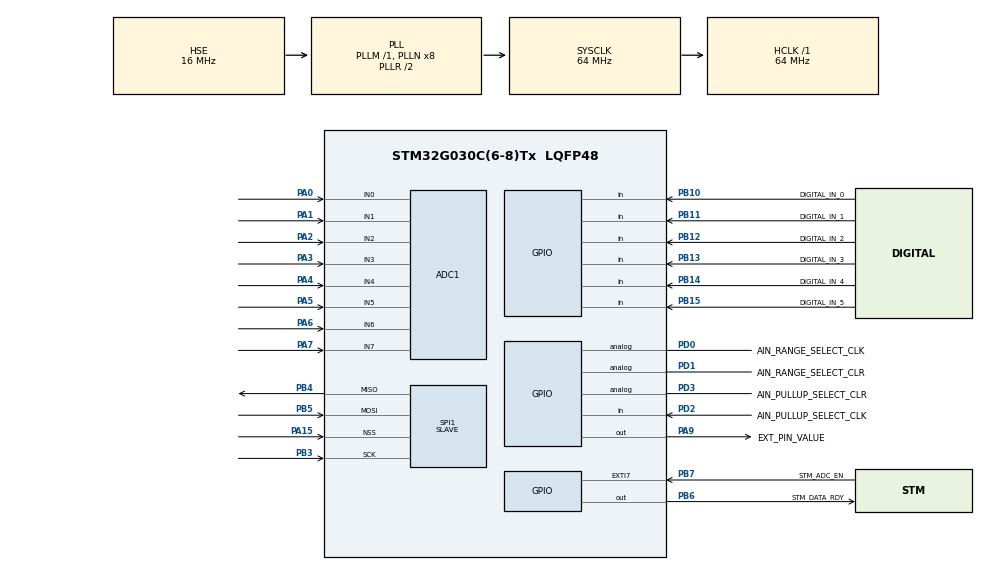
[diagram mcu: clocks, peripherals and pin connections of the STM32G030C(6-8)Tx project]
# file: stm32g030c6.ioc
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ADC1.Channel-16\#ChannelRegularConversion=ADC_CHANNEL_0
ADC1.Channel-17\#ChannelRegularConversion=ADC_CHANNEL_1
ADC1.Channel-18\#ChannelRegularConversion=ADC_CHANNEL_2
ADC1.Channel-19\#ChannelRegularConversion=ADC_CHANNEL_3
ADC1.Channel-20\#ChannelRegularConversion=ADC_CHANNEL_4
ADC1.Channel-21\#ChannelRegularConversion=ADC_CHANNEL_5
ADC1.Channel-22\#ChannelRegularConversion=ADC_CHANNEL_6
ADC1.Channel-23\#ChannelRegularConversion=ADC_CHANNEL_7
ADC1.ClockPrescaler=ADC_CLOCK_ASYNC_DIV1
ADC1.ContinuousConvMode=DISABLE
ADC1.DMAContinuousRequests=ENABLE
ADC1.DiscontinuousConvMode=DISABLE
ADC1.EOCSelection=ADC_EOC_SEQ_CONV
ADC1.EnableAnalogWatchDog1=false
ADC1.ExternalTrigConv=ADC_EXTERNALTRIG_T3_TRGO
ADC1.ExternalTrigConvEdge=ADC_EXTERNALTRIGCONVEDGE_RISING
ADC1.NbrOfConversion=8
ADC1.NbrOfConversionFlag=1
ADC1.Overrun=ADC_OVR_DATA_PRESERVED
ADC1.Rank-16\#ChannelRegularConversion=1
ADC1.Rank-17\#ChannelRegularConversion=2
ADC1.Rank-18\#ChannelRegularConversion=3
ADC1.Rank-19\#ChannelRegularConversion=4
ADC1.Rank-20\#ChannelRegularConversion=5
ADC1.Rank-21\#ChannelRegularConversion=6
ADC1.Rank-22\#ChannelRegularConversion=7
ADC1.Rank-23\#ChannelRegularConversion=8
ADC1.SamplingTime-16\#ChannelRegularConversion=ADC_SAMPLINGTIME_COMMON_1
ADC1.SamplingTime-17\#ChannelRegularConversion=ADC_SAMPLINGTIME_COMMON_1
ADC1.SamplingTime-18\#ChannelRegularConversion=ADC_SAMPLINGTIME_COMMON_1
ADC1.SamplingTime-19\#ChannelRegularConversion=ADC_SAMPLINGTIME_COMMON_1
ADC1.SamplingTime-20\#ChannelRegularConversion=ADC_SAMPLINGTIME_COMMON_1
ADC1.SamplingTime-21\#ChannelRegularConversion=ADC_SAMPLINGTIME_COMMON_1
ADC1.SamplingTime-22\#ChannelRegularConversion=ADC_SAMPLINGTIME_COMMON_1
ADC1.SamplingTime-23\#ChannelRegularConversion=ADC_SAMPLINGTIME_COMMON_1
ADC1.SamplingTimeCommon1=ADC_SAMPLETIME_79CYCLES_5
ADC1.SelectedChannel=ADC_CHANNEL_0|ADC_CHANNEL_1|ADC_CHANNEL_2|ADC_CHANNEL_3|ADC_CHANNEL_4|ADC_CHANNEL_5|ADC_CHANNEL_6|ADC_CHANNEL_7
ADC1.Sequencer=FULLY_CONFIGURABLE
ADC1.TriggerFrequencyMode=ADC_TRIGGER_FREQ_HIGH
ADC1.master=1
Dma.ADC1.2.Direction=DMA_PERIPH_TO_MEMORY
Dma.ADC1.2.EventEnable=DISABLE
Dma.ADC1.2.Instance=DMA1_Channel1
Dma.ADC1.2.MemDataAlignment=DMA_MDATAALIGN_HALFWORD
Dma.ADC1.2.MemInc=DMA_MINC_ENABLE
Dma.ADC1.2.Mode=DMA_CIRCULAR
Dma.ADC1.2.PeriphDataAlignment=DMA_PDATAALIGN_HALFWORD
Dma.ADC1.2.PeriphInc=DMA_PINC_DISABLE
Dma.ADC1.2.Polarity=HAL_DMAMUX_REQ_GEN_RISING
Dma.ADC1.2.Priority=DMA_PRIORITY_VERY_HIGH
Dma.ADC1.2.RequestNumber=1
Dma.ADC1.2.SignalID=NONE
Dma.ADC1.2.SyncEnable=DISABLE
Dma.ADC1.2.SyncPolarity=HAL_DMAMUX_SYNC_NO_EVENT
Dma.ADC1.2.SyncRequestNumber=1
Dma.ADC1.2.SyncSignalID=NONE
Dma.Request0=SPI1_TX
Dma.Request1=SPI1_RX
Dma.Request2=ADC1
Dma.SPI1_RX.1.Direction=DMA_PERIPH_TO_MEMORY
Dma.SPI1_RX.1.EventEnable=DISABLE
Dma.SPI1_RX.1.Instance=DMA1_Channel2
Dma.SPI1_RX.1.MemDataAlignment=DMA_MDATAALIGN_BYTE
Dma.SPI1_RX.1.MemInc=DMA_MINC_ENABLE
Dma.SPI1_RX.1.Mode=DMA_NORMAL
Dma.SPI1_RX.1.PeriphDataAlignment=DMA_PDATAALIGN_BYTE
Dma.SPI1_RX.1.PeriphInc=DMA_PINC_DISABLE
Dma.SPI1_RX.1.Polarity=HAL_DMAMUX_REQ_GEN_RISING
Dma.SPI1_RX.1.Priority=DMA_PRIORITY_HIGH
Dma.SPI1_RX.1.RequestNumber=1
Dma.SPI1_RX.1.SignalID=NONE
Dma.SPI1_RX.1.SyncEnable=DISABLE
Dma.SPI1_RX.1.SyncPolarity=HAL_DMAMUX_SYNC_NO_EVENT
Dma.SPI1_RX.1.SyncRequestNumber=1
Dma.SPI1_RX.1.SyncSignalID=NONE
Dma.SPI1_TX.0.Direction=DMA_MEMORY_TO_PERIPH
Dma.SPI1_TX.0.EventEnable=DISABLE
Dma.SPI1_TX.0.Instance=DMA1_Channel3
Dma.SPI1_TX.0.MemDataAlignment=DMA_MDATAALIGN_BYTE
Dma.SPI1_TX.0.MemInc=DMA_MINC_ENABLE
Dma.SPI1_TX.0.Mode=DMA_NORMAL
Dma.SPI1_TX.0.PeriphDataAlignment=DMA_PDATAALIGN_BYTE
Dma.SPI1_TX.0.PeriphInc=DMA_PINC_DISABLE
Dma.SPI1_TX.0.Polarity=HAL_DMAMUX_REQ_GEN_RISING
Dma.SPI1_TX.0.Priority=DMA_PRIORITY_HIGH
Dma.SPI1_TX.0.RequestNumber=1
Dma.SPI1_TX.0.SignalID=NONE
Dma.SPI1_TX.0.SyncEnable=DISABLE
Dma.SPI1_TX.0.SyncPolarity=HAL_DMAMUX_SYNC_NO_EVENT
Dma.SPI1_TX.0.SyncRequestNumber=1
Dma.SPI1_TX.0.SyncSignalID=NONE
Mcu.Family=STM32G0
Mcu.Name=STM32G030C(6-8)Tx
Mcu.Package=LQFP48
NVIC.DMA1_Channel1_IRQn=true\:0\:0\:false\:false\:true\:false\:true\:true
NVIC.DMA1_Channel2_3_IRQn=true\:0\:0\:false\:false\:true\:false\:true\:true
NVIC.EXTI4_15_IRQn=true\:0\:0\:false\:false\:true\:true\:true\:true
NVIC.SPI1_IRQn=true\:0\:0\:false\:false\:true\:true\:true\:true
NVIC.TIM14_IRQn=true\:0\:0\:false\:false\:true\:true\:true\:true
NVIC.TIM16_IRQn=true\:0\:0\:false\:false\:true\:true\:true\:true
NVIC.TIM3_IRQn=true\:0\:0\:false\:false\:true\:true\:true\:true
PA0.Mode=IN0
PA0.Signal=ADC1_IN0
PA1.Mode=IN1
PA1.Signal=ADC1_IN1
PA13.Mode=Serial_Wire
PA13.Signal=SYS_SWDIO
PA14-BOOT0.Mode=Serial_Wire
PA14-BOOT0.Signal=SYS_SWCLK
PA15.Mode=NSS_Signal_Hard_Input
PA15.Signal=SPI1_NSS
PA2.Mode=IN2
PA2.Signal=ADC1_IN2
PA3.Mode=IN3
PA3.Signal=ADC1_IN3
PA4.Mode=IN4
PA4.Signal=ADC1_IN4
PA5.Mode=IN5
PA5.Signal=ADC1_IN5
PA6.Mode=IN6
PA6.Signal=ADC1_IN6
PA7.Mode=IN7
PA7.Signal=ADC1_IN7
PA9.GPIO_Label=EXT_PIN_VALUE
PA9.Signal=GPIO_Output
PB10.GPIO_Label=DIGITAL_IN_0
PB10.Signal=GPIO_Input
PB11.GPIO_Label=DIGITAL_IN_1
PB11.GPIO_PuPd=GPIO_NOPULL
PB11.Signal=GPIO_Input
PB12.GPIO_Label=DIGITAL_IN_2
PB12.GPIO_PuPd=GPIO_NOPULL
PB12.Signal=GPIO_Input
PB13.GPIO_Label=DIGITAL_IN_3
PB13.GPIO_PuPd=GPIO_NOPULL
PB13.Signal=GPIO_Input
PB14.GPIO_Label=DIGITAL_IN_4
PB14.GPIO_PuPd=GPIO_NOPULL
PB14.Signal=GPIO_Input
PB15.GPIO_Label=DIGITAL_IN_5
PB15.GPIO_PuPd=GPIO_NOPULL
PB15.Signal=GPIO_Input
PB3.GPIO_Speed=GPIO_SPEED_FREQ_MEDIUM
PB3.Mode=Full_Duplex_Slave
PB3.Signal=SPI1_SCK
PB4.GPIO_Speed=GPIO_SPEED_FREQ_MEDIUM
PB4.Mode=Full_Duplex_Slave
PB4.Signal=SPI1_MISO
PB5.GPIO_Speed=GPIO_SPEED_FREQ_MEDIUM
PB5.Mode=Full_Duplex_Slave
PB5.Signal=SPI1_MOSI
PB6.GPIO_Label=STM_DATA_RDY
PB6.Signal=GPIO_Output
PB7.GPIO_Label=STM_ADC_EN
PB7.GPIO_ModeDefaultEXTI=GPIO_MODE_IT_RISING_FALLING
PB7.Signal=GPXTI7
PC14-OSC32_IN\ (PC14).Mode=LSE-External-Oscillator
PC14-OSC32_IN\ (PC14).Signal=RCC_OSC32_IN
PC15-OSC32_OUT\ (PC15).Mode=LSE-External-Oscillator
PC15-OSC32_OUT\ (PC15).Signal=RCC_OSC32_OUT
PD0.GPIO_Label=AIN_RANGE_SELECT_CLK
PD0.Signal=GPIO_Analog
PD1.GPIO_Label=AIN_RANGE_SELECT_CLR
PD1.Signal=GPIO_Analog
PD2.GPIO_Label=AIN_PULLUP_SELECT_CLK
PD2.Signal=GPIO_Input
PD3.GPIO_Label=AIN_PULLUP_SELECT_CLR
PD3.Signal=GPIO_Analog
PF0-OSC_IN\ (PF0).Mode=HSE-External-Oscillator
PF0-OSC_IN\ (PF0).Signal=RCC_OSC_IN
PF1-OSC_OUT\ (PF1).Mode=HSE-External-Oscillator
PF1-OSC_OUT\ (PF1).Signal=RCC_OSC_OUT
ProjectManager.HeapSize=0x200
ProjectManager.StackSize=0x400
ProjectManager.TargetToolchain=STM32CubeIDE
RCC.ADCFreq_Value=64000000
RCC.AHBFreq_Value=64000000
RCC.CortexFreq_Value=64000000
RCC.EXTERNAL_CLOCK_VALUE=12288000
RCC.HCLKFreq_Value=64000000
RCC.HSE_VALUE=16000000
RCC.HSI_VALUE=16000000
RCC.LSE_Drive_Capability=RCC_LSEDRIVE_HIGH
RCC.LSE_Timout=7000
RCC.PLLP=RCC_PLLP_DIV32
RCC.PLLSourceVirtual=RCC_PLLSOURCE_HSE
RCC.RTCClockSelection=RCC_RTCCLKSOURCE_LSE
RCC.SYSCLKFreq_VALUE=64000000
RCC.SYSCLKSource=RCC_SYSCLKSOURCE_PLLCLK
RCC.VCOOutputFreq_Value=128000000
RTC.AsynchPrediv=15
RTC.Format=RTC_FORMAT_BIN
RTC.HourFormat=RTC_HOURFORMAT_24
RTC.Hours=12
RTC.Month=RTC_MONTH_FEBRUARY
RTC.SynchPrediv=2047
RTC.Year=24
SPI1.CLKPolarity=SPI_POLARITY_LOW
SPI1.Direction=SPI_DIRECTION_2LINES
SPI1.Mode=SPI_MODE_SLAVE
SPI1.VirtualNSS=VM_NSSHARD
SPI1.VirtualType=VM_SLAVE
TIM14.Period=64000
TIM14.Prescaler=333
TIM16.Period=64000
TIM16.Prescaler=333
TIM3.Period=64000
TIM3.Prescaler=100
TIM3.TIM_MasterOutputTrigger=TIM_TRGO_UPDATE
TIM3.TIM_MasterSlaveMode=TIM_MASTERSLAVEMODE_DISABLE
VP_RTC_VS_RTC_Activate.Mode=RTC_Enabled
VP_RTC_VS_RTC_Calendar.Mode=RTC_Calendar
VP_TIM14_VS_ClockSourceINT.Mode=Enable_Timer
VP_TIM16_VS_ClockSourceINT.Mode=Enable_Timer
VP_TIM3_VS_ClockSourceINT.Mode=Internal
board=custom

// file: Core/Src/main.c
/* USER CODE BEGIN Header */
/**
  ******************************************************************************
  * @file           : main.c
  * @brief          : Main program body
  ******************************************************************************
  * @attention
  *
  * Copyright (c) 2022 STMicroelectronics.
  * All rights reserved.
  *
  * This software is licensed under terms that can be found in the LICENSE file
  * in the root directory of this software component.
  * If no LICENSE file comes with this software, it is provided AS-IS.
  *
  ******************************************************************************
  */

  /*
 * MIT License
 *
 * Copyright (c) 2025 Tecnion Technologies
 *
 * Permission is hereby granted, free of charge, to any person obtaining a copy
 * of this software and associated documentation files (the "Software"), to deal
 * in the Software without restriction, including without limitation the rights
 * to use, copy, modify, merge, publish, distribute, sublicense, and/or sell
 * copies of the Software, and to permit persons to whom the Software is
 * furnished to do so, subject to the following conditions:
 *
 * The above copyright notice and this permission notice shall be included in all
 * copies or substantial portions of the Software.
 *
 * THE SOFTWARE IS PROVIDED "AS IS", WITHOUT WARRANTY OF ANY KIND, EXPRESS OR
 * IMPLIED, INCLUDING BUT NOT LIMITED TO THE WARRANTIES OF MERCHANTABILITY,
 * FITNESS FOR A PARTICULAR PURPOSE AND NONINFRINGEMENT. IN NO EVENT SHALL THE
 * AUTHORS OR COPYRIGHT HOLDERS BE LIABLE FOR ANY CLAIM, DAMAGES OR OTHER
 * LIABILITY, WHETHER IN AN ACTION OF CONTRACT, TORT OR OTHERWISE, ARISING FROM,
 * OUT OF OR IN CONNECTION WITH THE SOFTWARE OR THE USE OR OTHER DEALINGS IN THE
 * SOFTWARE.
 */

/* USER CODE END Header */
#include "main.h"

/* USER CODE BEGIN Includes */
#include "esp32_interface.h"
#include "stdint.h"
#include "string.h"
#include <time.h>
#include "spi_ctrl.h"
#include "iirfilter.h"
#include "adc_comp_lut.h"
#include "framing.h"
#include "acquisition.h"
#include "app.h"
/* USER CODE END Includes */

ADC_HandleTypeDef hadc1;
DMA_HandleTypeDef hdma_adc1;

RTC_HandleTypeDef hrtc;

SPI_HandleTypeDef hspi1;
DMA_HandleTypeDef hdma_spi1_tx;
DMA_HandleTypeDef hdma_spi1_rx;

TIM_HandleTypeDef htim3;
TIM_HandleTypeDef htim14;
TIM_HandleTypeDef htim16;

/* USER CODE BEGIN PV */
/* The application state machine and its globals (MainState/NextState,
 * logging_en, cmd_buffer, the trigger/debounce vars, the settings-ish
 * adc_resolution/logMode/etc., and the htim3_bak snapshot) now live in app.c.
 * Only the CubeMX HAL handles (above) and the boot-time hadc1 backup remain. */
ADC_HandleTypeDef hadc1_bak;
/* USER CODE END PV */

void SystemClock_Config(void);
static void MX_GPIO_Init(void);
static void MX_DMA_Init(void);
static void MX_SPI1_Init(void);
static void MX_ADC1_Init(void);
static void MX_TIM3_Init(void);
static void MX_RTC_Init(void);
static void MX_TIM14_Init(void);
static void MX_TIM16_Init(void);

/* USER CODE BEGIN 0 */

// The ADC/TIM3 sample path and its HAL weak callbacks
// (HAL_TIM_PeriodElapsedCallback, HAL_ADC_ConvHalfCpltCallback,
// HAL_ADC_ConvCpltCallback, HAL_ADC_ErrorCallback, and the former Adc_start)
// now live in acquisition.c.
//
// The application state machine (the former while(1) body), its globals, and
// the HAL_GPIO_EXTI_Rising/Falling weak callbacks now live in app.c.

/* USER CODE END 0 */

int main(void)
{

  /* MCU Configuration--------------------------------------------------------*/

  /* Reset of all peripherals, Initializes the Flash interface and the Systick. */
  HAL_Init();

  /* Configure the system clock */
  SystemClock_Config();

  /* Initialize all configured peripherals */
  MX_GPIO_Init();
  MX_DMA_Init();
  MX_SPI1_Init();
  MX_ADC1_Init();
  MX_TIM3_Init();
  MX_RTC_Init();
  MX_TIM14_Init();
  MX_TIM16_Init();
  /* USER CODE BEGIN 2 */

  // Set MISO pin drive strenght to High speed (bit 8 and 9 = '10' (bit 9 = 1))
  GPIOB->OSPEEDR |= (0x0200);

  // Backup current adc settings
  hadc1_bak = hadc1;

  iir_init();

  HAL_TIM_Base_Start(&htim14);
  HAL_TIM_Base_Start(&htim16);

  // Turn off the interrupt flag for timer 14.
  CLEAR_BIT(TIM14->DIER, TIM_DIER_UIE);
  CLEAR_BIT(TIM16->DIER, TIM_DIER_UIE);

  frame_init();

  acq_init();

  app_init();

  /* USER CODE END 2 */

  /* Infinite loop */
  while (1)
  {

    /* USER CODE BEGIN 3 */
	  app_run_once();
  }// end of while
  /* USER CODE END 3 */
}

void SystemClock_Config(void)
{
  RCC_OscInitTypeDef RCC_OscInitStruct = {0};
  RCC_ClkInitTypeDef RCC_ClkInitStruct = {0};

  /** Configure the main internal regulator output voltage
  */
  HAL_PWREx_ControlVoltageScaling(PWR_REGULATOR_VOLTAGE_SCALE1);

  /** Configure LSE Drive Capability
  */
  HAL_PWR_EnableBkUpAccess();
  __HAL_RCC_LSEDRIVE_CONFIG(RCC_LSEDRIVE_HIGH);

  /** Initializes the RCC Oscillators according to the specified parameters
  * in the RCC_OscInitTypeDef structure.
  */
  RCC_OscInitStruct.OscillatorType = RCC_OSCILLATORTYPE_HSE|RCC_OSCILLATORTYPE_LSE;
  RCC_OscInitStruct.HSEState = RCC_HSE_ON;
  RCC_OscInitStruct.LSEState = RCC_LSE_ON;
  RCC_OscInitStruct.PLL.PLLState = RCC_PLL_ON;
  RCC_OscInitStruct.PLL.PLLSource = RCC_PLLSOURCE_HSE;
  RCC_OscInitStruct.PLL.PLLM = RCC_PLLM_DIV1;
  RCC_OscInitStruct.PLL.PLLN = 8;
  RCC_OscInitStruct.PLL.PLLP = RCC_PLLP_DIV32;
  RCC_OscInitStruct.PLL.PLLR = RCC_PLLR_DIV2;
  if (HAL_RCC_OscConfig(&RCC_OscInitStruct) != HAL_OK)
  {
    Error_Handler();
  }

  /** Initializes the CPU, AHB and APB buses clocks
  */
  RCC_ClkInitStruct.ClockType = RCC_CLOCKTYPE_HCLK|RCC_CLOCKTYPE_SYSCLK
                              |RCC_CLOCKTYPE_PCLK1;
  RCC_ClkInitStruct.SYSCLKSource = RCC_SYSCLKSOURCE_PLLCLK;
  RCC_ClkInitStruct.AHBCLKDivider = RCC_SYSCLK_DIV1;
  RCC_ClkInitStruct.APB1CLKDivider = RCC_HCLK_DIV1;

  if (HAL_RCC_ClockConfig(&RCC_ClkInitStruct, FLASH_LATENCY_2) != HAL_OK)
  {
    Error_Handler();
  }
}

static void MX_ADC1_Init(void)
{

  ADC_ChannelConfTypeDef sConfig = {0};

  /** Configure the global features of the ADC (Clock, Resolution, Data Alignment and number of conversion)
  */
  hadc1.Instance = ADC1;
  hadc1.Init.ClockPrescaler = ADC_CLOCK_ASYNC_DIV1;
  hadc1.Init.Resolution = ADC_RESOLUTION_12B;
  hadc1.Init.DataAlign = ADC_DATAALIGN_RIGHT;
  hadc1.Init.ScanConvMode = ADC_SCAN_ENABLE;
  hadc1.Init.EOCSelection = ADC_EOC_SEQ_CONV;
  hadc1.Init.LowPowerAutoWait = DISABLE;
  hadc1.Init.LowPowerAutoPowerOff = DISABLE;
  hadc1.Init.ContinuousConvMode = DISABLE;
  hadc1.Init.NbrOfConversion = 8;
  hadc1.Init.DiscontinuousConvMode = DISABLE;
  hadc1.Init.ExternalTrigConv = ADC_EXTERNALTRIG_T3_TRGO;
  hadc1.Init.ExternalTrigConvEdge = ADC_EXTERNALTRIGCONVEDGE_RISING;
  hadc1.Init.DMAContinuousRequests = ENABLE;
  hadc1.Init.Overrun = ADC_OVR_DATA_PRESERVED;
  hadc1.Init.SamplingTimeCommon1 = ADC_SAMPLETIME_79CYCLES_5;
  hadc1.Init.SamplingTimeCommon2 = ADC_SAMPLETIME_1CYCLE_5;
  hadc1.Init.OversamplingMode = DISABLE;
  hadc1.Init.TriggerFrequencyMode = ADC_TRIGGER_FREQ_HIGH;
  if (HAL_ADC_Init(&hadc1) != HAL_OK)
  {
    Error_Handler();
  }

  /** Configure Regular Channel
  */
  sConfig.Channel = ADC_CHANNEL_0;
  sConfig.Rank = ADC_REGULAR_RANK_1;
  sConfig.SamplingTime = ADC_SAMPLINGTIME_COMMON_1;
  if (HAL_ADC_ConfigChannel(&hadc1, &sConfig) != HAL_OK)
  {
    Error_Handler();
  }

  /** Configure Regular Channel
  */
  sConfig.Channel = ADC_CHANNEL_1;
  sConfig.Rank = ADC_REGULAR_RANK_2;
  if (HAL_ADC_ConfigChannel(&hadc1, &sConfig) != HAL_OK)
  {
    Error_Handler();
  }

  /** Configure Regular Channel
  */
  sConfig.Channel = ADC_CHANNEL_2;
  sConfig.Rank = ADC_REGULAR_RANK_3;
  if (HAL_ADC_ConfigChannel(&hadc1, &sConfig) != HAL_OK)
  {
    Error_Handler();
  }

  /** Configure Regular Channel
  */
  sConfig.Channel = ADC_CHANNEL_3;
  sConfig.Rank = ADC_REGULAR_RANK_4;
  if (HAL_ADC_ConfigChannel(&hadc1, &sConfig) != HAL_OK)
  {
    Error_Handler();
  }

  /** Configure Regular Channel
  */
  sConfig.Channel = ADC_CHANNEL_4;
  sConfig.Rank = ADC_REGULAR_RANK_5;
  if (HAL_ADC_ConfigChannel(&hadc1, &sConfig) != HAL_OK)
  {
    Error_Handler();
  }

  /** Configure Regular Channel
  */
  sConfig.Channel = ADC_CHANNEL_5;
  sConfig.Rank = ADC_REGULAR_RANK_6;
  if (HAL_ADC_ConfigChannel(&hadc1, &sConfig) != HAL_OK)
  {
    Error_Handler();
  }

  /** Configure Regular Channel
  */
  sConfig.Channel = ADC_CHANNEL_6;
  sConfig.Rank = ADC_REGULAR_RANK_7;
  if (HAL_ADC_ConfigChannel(&hadc1, &sConfig) != HAL_OK)
  {
    Error_Handler();
  }

  /** Configure Regular Channel
  */
  sConfig.Channel = ADC_CHANNEL_7;
  sConfig.Rank = ADC_REGULAR_RANK_8;
  if (HAL_ADC_ConfigChannel(&hadc1, &sConfig) != HAL_OK)
  {
    Error_Handler();
  }

}

static void MX_RTC_Init(void)
{

  RTC_TimeTypeDef sTime = {0};
  RTC_DateTypeDef sDate = {0};

  /** Initialize RTC Only
  */
  hrtc.Instance = RTC;
  hrtc.Init.HourFormat = RTC_HOURFORMAT_24;
  hrtc.Init.AsynchPrediv = 15;
  hrtc.Init.SynchPrediv = 2047;
  hrtc.Init.OutPut = RTC_OUTPUT_DISABLE;
  hrtc.Init.OutPutRemap = RTC_OUTPUT_REMAP_NONE;
  hrtc.Init.OutPutPolarity = RTC_OUTPUT_POLARITY_HIGH;
  hrtc.Init.OutPutType = RTC_OUTPUT_TYPE_OPENDRAIN;
  hrtc.Init.OutPutPullUp = RTC_OUTPUT_PULLUP_NONE;
  if (HAL_RTC_Init(&hrtc) != HAL_OK)
  {
    Error_Handler();
  }

  /* USER CODE BEGIN Check_RTC_BKUP */
  // Check if RTC was already set before. If not, then set it with default value.
  if (__HAL_RTC_GET_FLAG(&hrtc, RTC_FLAG_INITS) == RESET) {
  /* USER CODE END Check_RTC_BKUP */

  /** Initialize RTC and set the Time and Date
  */
  sTime.Hours = 12;
  sTime.Minutes = 0;
  sTime.Seconds = 0;
  sTime.SubSeconds = 0;
  sTime.DayLightSaving = RTC_DAYLIGHTSAVING_NONE;
  sTime.StoreOperation = RTC_STOREOPERATION_RESET;
  if (HAL_RTC_SetTime(&hrtc, &sTime, RTC_FORMAT_BIN) != HAL_OK)
  {
    Error_Handler();
  }
  sDate.WeekDay = RTC_WEEKDAY_MONDAY;
  sDate.Month = RTC_MONTH_FEBRUARY;
  sDate.Date = 1;
  sDate.Year = 24;

  if (HAL_RTC_SetDate(&hrtc, &sDate, RTC_FORMAT_BIN) != HAL_OK)
  {
    Error_Handler();
  }
  }

}

static void MX_SPI1_Init(void)
{

  /* SPI1 parameter configuration*/
  hspi1.Instance = SPI1;
  hspi1.Init.Mode = SPI_MODE_SLAVE;
  hspi1.Init.Direction = SPI_DIRECTION_2LINES;
  hspi1.Init.DataSize = SPI_DATASIZE_8BIT;
  hspi1.Init.CLKPolarity = SPI_POLARITY_LOW;
  hspi1.Init.CLKPhase = SPI_PHASE_1EDGE;
  hspi1.Init.NSS = SPI_NSS_HARD_INPUT;
  hspi1.Init.FirstBit = SPI_FIRSTBIT_MSB;
  hspi1.Init.TIMode = SPI_TIMODE_DISABLE;
  hspi1.Init.CRCCalculation = SPI_CRCCALCULATION_DISABLE;
  hspi1.Init.CRCPolynomial = 7;
  hspi1.Init.CRCLength = SPI_CRC_LENGTH_DATASIZE;
  hspi1.Init.NSSPMode = SPI_NSS_PULSE_DISABLE;
  if (HAL_SPI_Init(&hspi1) != HAL_OK)
  {
    Error_Handler();
  }

}

static void MX_TIM3_Init(void)
{

  TIM_ClockConfigTypeDef sClockSourceConfig = {0};
  TIM_MasterConfigTypeDef sMasterConfig = {0};

  htim3.Instance = TIM3;
  htim3.Init.Prescaler = 100;
  htim3.Init.CounterMode = TIM_COUNTERMODE_UP;
  htim3.Init.Period = 64000;
  htim3.Init.ClockDivision = TIM_CLOCKDIVISION_DIV1;
  htim3.Init.AutoReloadPreload = TIM_AUTORELOAD_PRELOAD_DISABLE;
  if (HAL_TIM_Base_Init(&htim3) != HAL_OK)
  {
    Error_Handler();
  }
  sClockSourceConfig.ClockSource = TIM_CLOCKSOURCE_INTERNAL;
  if (HAL_TIM_ConfigClockSource(&htim3, &sClockSourceConfig) != HAL_OK)
  {
    Error_Handler();
  }
  sMasterConfig.MasterOutputTrigger = TIM_TRGO_UPDATE;
  sMasterConfig.MasterSlaveMode = TIM_MASTERSLAVEMODE_DISABLE;
  if (HAL_TIMEx_MasterConfigSynchronization(&htim3, &sMasterConfig) != HAL_OK)
  {
    Error_Handler();
  }

}

static void MX_TIM14_Init(void)
{

  htim14.Instance = TIM14;
  htim14.Init.Prescaler = 333;
  htim14.Init.CounterMode = TIM_COUNTERMODE_UP;
  htim14.Init.Period = 64000;
  htim14.Init.ClockDivision = TIM_CLOCKDIVISION_DIV1;
  htim14.Init.AutoReloadPreload = TIM_AUTORELOAD_PRELOAD_DISABLE;
  if (HAL_TIM_Base_Init(&htim14) != HAL_OK)
  {
    Error_Handler();
  }

}

static void MX_TIM16_Init(void)
{

  htim16.Instance = TIM16;
  htim16.Init.Prescaler = 333;
  htim16.Init.CounterMode = TIM_COUNTERMODE_UP;
  htim16.Init.Period = 64000;
  htim16.Init.ClockDivision = TIM_CLOCKDIVISION_DIV1;
  htim16.Init.RepetitionCounter = 0;
  htim16.Init.AutoReloadPreload = TIM_AUTORELOAD_PRELOAD_DISABLE;
  if (HAL_TIM_Base_Init(&htim16) != HAL_OK)
  {
    Error_Handler();
  }

}

static void MX_DMA_Init(void)
{

  /* DMA controller clock enable */
  __HAL_RCC_DMA1_CLK_ENABLE();

  /* DMA interrupt init */
  /* DMA1_Channel1_IRQn interrupt configuration */
  HAL_NVIC_SetPriority(DMA1_Channel1_IRQn, 0, 0);
  HAL_NVIC_EnableIRQ(DMA1_Channel1_IRQn);
  /* DMA1_Channel2_3_IRQn interrupt configuration */
  HAL_NVIC_SetPriority(DMA1_Channel2_3_IRQn, 0, 0);
  HAL_NVIC_EnableIRQ(DMA1_Channel2_3_IRQn);

}

static void MX_GPIO_Init(void)
{
  GPIO_InitTypeDef GPIO_InitStruct = {0};

  /* GPIO Ports Clock Enable */
  __HAL_RCC_GPIOC_CLK_ENABLE();
  __HAL_RCC_GPIOF_CLK_ENABLE();
  __HAL_RCC_GPIOA_CLK_ENABLE();
  __HAL_RCC_GPIOB_CLK_ENABLE();
  __HAL_RCC_GPIOD_CLK_ENABLE();

  /*Configure GPIO pin Output Level */
  HAL_GPIO_WritePin(EXT_PIN_VALUE_GPIO_Port, EXT_PIN_VALUE_Pin, GPIO_PIN_RESET);

  /*Configure GPIO pin Output Level */
  HAL_GPIO_WritePin(STM_DATA_RDY_GPIO_Port, STM_DATA_RDY_Pin, GPIO_PIN_RESET);

  /*Configure GPIO pins : DIGITAL_IN_0_Pin DIGITAL_IN_1_Pin DIGITAL_IN_2_Pin DIGITAL_IN_3_Pin
                           DIGITAL_IN_4_Pin DIGITAL_IN_5_Pin */
  GPIO_InitStruct.Pin = DIGITAL_IN_0_Pin|DIGITAL_IN_1_Pin|DIGITAL_IN_2_Pin|DIGITAL_IN_3_Pin
                          |DIGITAL_IN_4_Pin|DIGITAL_IN_5_Pin;
  GPIO_InitStruct.Mode = GPIO_MODE_INPUT;
  GPIO_InitStruct.Pull = GPIO_NOPULL;
  HAL_GPIO_Init(GPIOB, &GPIO_InitStruct);

  /*Configure GPIO pin : EXT_PIN_VALUE_Pin */
  GPIO_InitStruct.Pin = EXT_PIN_VALUE_Pin;
  GPIO_InitStruct.Mode = GPIO_MODE_OUTPUT_PP;
  GPIO_InitStruct.Pull = GPIO_NOPULL;
  GPIO_InitStruct.Speed = GPIO_SPEED_FREQ_LOW;
  HAL_GPIO_Init(EXT_PIN_VALUE_GPIO_Port, &GPIO_InitStruct);

  /*Configure GPIO pins : AIN_RANGE_SELECT_CLK_Pin AIN_RANGE_SELECT_CLR_Pin AIN_PULLUP_SELECT_CLR_Pin */
  GPIO_InitStruct.Pin = AIN_RANGE_SELECT_CLK_Pin|AIN_RANGE_SELECT_CLR_Pin|AIN_PULLUP_SELECT_CLR_Pin;
  GPIO_InitStruct.Mode = GPIO_MODE_ANALOG;
  GPIO_InitStruct.Pull = GPIO_NOPULL;
  HAL_GPIO_Init(GPIOD, &GPIO_InitStruct);

  /*Configure GPIO pin : AIN_PULLUP_SELECT_CLK_Pin */
  GPIO_InitStruct.Pin = AIN_PULLUP_SELECT_CLK_Pin;
  GPIO_InitStruct.Mode = GPIO_MODE_INPUT;
  GPIO_InitStruct.Pull = GPIO_NOPULL;
  HAL_GPIO_Init(AIN_PULLUP_SELECT_CLK_GPIO_Port, &GPIO_InitStruct);

  /*Configure GPIO pin : STM_DATA_RDY_Pin */
  GPIO_InitStruct.Pin = STM_DATA_RDY_Pin;
  GPIO_InitStruct.Mode = GPIO_MODE_OUTPUT_PP;
  GPIO_InitStruct.Pull = GPIO_NOPULL;
  GPIO_InitStruct.Speed = GPIO_SPEED_FREQ_LOW;
  HAL_GPIO_Init(STM_DATA_RDY_GPIO_Port, &GPIO_InitStruct);

  /*Configure GPIO pin : STM_ADC_EN_Pin */
  GPIO_InitStruct.Pin = STM_ADC_EN_Pin;
  GPIO_InitStruct.Mode = GPIO_MODE_IT_RISING_FALLING;
  GPIO_InitStruct.Pull = GPIO_NOPULL;
  HAL_GPIO_Init(STM_ADC_EN_GPIO_Port, &GPIO_InitStruct);

  /* EXTI interrupt init*/
  HAL_NVIC_SetPriority(EXTI4_15_IRQn, 0, 0);
  HAL_NVIC_EnableIRQ(EXTI4_15_IRQn);

}

/* USER CODE BEGIN 4 */

void ADC_Reinit()
{
	  if (HAL_ADC_Init(&hadc1) != HAL_OK)
	  {
	    Error_Handler();
	  }

}

/* USER CODE END 4 */

void Error_Handler(void)
{
  __disable_irq();
  while (1)
  {
  }
}
